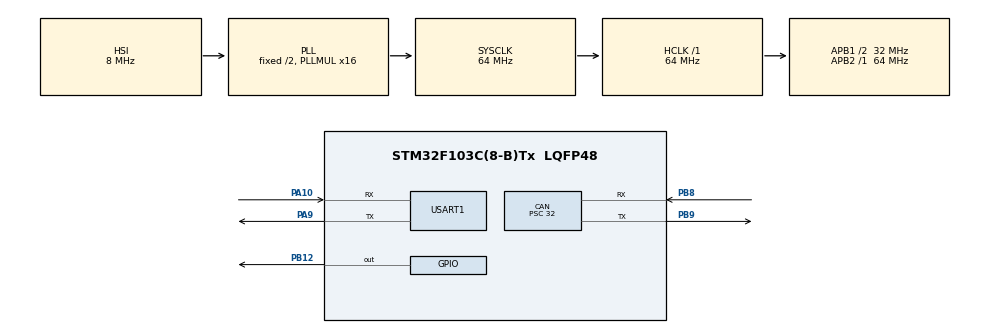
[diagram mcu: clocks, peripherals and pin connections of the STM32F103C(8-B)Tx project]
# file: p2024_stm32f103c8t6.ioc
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CAN.BS1=CAN_BS1_14TQ
CAN.BS2=CAN_BS2_5TQ
CAN.CalculateBaudRate=50000
CAN.CalculateTimeBit=20000
CAN.CalculateTimeQuantum=1000.0
CAN.Mode=CAN_MODE_LOOPBACK
CAN.Prescaler=32
Mcu.Family=STM32F1
Mcu.Name=STM32F103C(8-B)Tx
Mcu.Package=LQFP48
NVIC.PriorityGroup=NVIC_PRIORITYGROUP_4
NVIC.USART1_IRQn=true\:0\:0\:false\:false\:true\:true\:true\:true
NVIC.USB_LP_CAN1_RX0_IRQn=true\:0\:0\:false\:false\:true\:true\:true\:true
PA10.Mode=Asynchronous
PA10.Signal=USART1_RX
PA13.Mode=Serial_Wire
PA13.Signal=SYS_JTMS-SWDIO
PA14.Mode=Serial_Wire
PA14.Signal=SYS_JTCK-SWCLK
PA9.Mode=Asynchronous
PA9.Signal=USART1_TX
PB12.Signal=GPIO_Output
PB8.Mode=CAN_Activate
PB8.Signal=CAN_RX
PB9.Mode=CAN_Activate
PB9.Signal=CAN_TX
ProjectManager.HeapSize=0x200
ProjectManager.StackSize=0x400
ProjectManager.TargetToolchain=STM32CubeIDE
RCC.AHBFreq_Value=64000000
RCC.APB1CLKDivider=RCC_HCLK_DIV2
RCC.APB1Freq_Value=32000000
RCC.APB1TimFreq_Value=64000000
RCC.APB2Freq_Value=64000000
RCC.APB2TimFreq_Value=64000000
RCC.HCLKFreq_Value=64000000
RCC.PLLMUL=RCC_PLL_MUL16
RCC.SYSCLKFreq_VALUE=64000000
RCC.SYSCLKSource=RCC_SYSCLKSOURCE_PLLCLK
RCC.USBFreq_Value=64000000
USART1.VirtualMode=VM_ASYNC
board=custom

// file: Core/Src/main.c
/* USER CODE BEGIN Header */
/**
  ******************************************************************************
  * @file           : main.c
  * @brief          : Main program body
  ******************************************************************************
  * @attention
  *
  * Copyright (c) 2024 STMicroelectronics.
  * All rights reserved.
  *
  * This software is licensed under terms that can be found in the LICENSE file
  * in the root directory of this software component.
  * If no LICENSE file comes with this software, it is provided AS-IS.
  *
  ******************************************************************************
  */
/* USER CODE END Header */
#include "main.h"
#include "can.h"
#include "usart.h"
#include "gpio.h"

/* USER CODE BEGIN Includes */
#include "stdint.h"
#include "stdio.h"
#include "lt_global_defs.h"
#include "lt_can2.h"
#include "lt_systick.h"

#if defined CAN_ENABLE
#include "lt_can2.h"
#endif//CAN_ENABLE
/* USER CODE END Includes */

void SystemClock_Config(void);

int main(void)
{

  /* USER CODE BEGIN 1 */
	uint32_t prev_systick=0;
  /* USER CODE END 1 */

  /* MCU Configuration--------------------------------------------------------*/

  /* Reset of all peripherals, Initializes the Flash interface and the Systick. */
  HAL_Init();

  /* Configure the system clock */
  SystemClock_Config();

  /* Initialize all configured peripherals */
  MX_GPIO_Init();
  MX_USART1_UART_Init();
  MX_CAN_Init();
  /* USER CODE BEGIN 2 */
  // printf
  setvbuf(stdout, NULL, _IONBF, 0);
  printf("\r\nprintf use IONBF ..");

#if defined CAN_ENABLE
  // CAN Start
  // config for Can Tx
  can_tx_packet_header_config();
  // can filter init for can rx
  can_rx_packet_filter_config();
  HAL_CAN_ConfigFilter(&hcanHandle, &CanRxFilterConfig);
  printf("\r\nhal_can_filter config ..");

  if (HAL_CAN_Start(&hcanHandle) != HAL_OK)
  {
    /* Start Error */
  	printf("\r\nhal_can_start error !!");
    //Error_Handler();
  }
  printf("\r\nhal_can_started..");

  /* Activate CAN RX notification */
  if (HAL_CAN_ActivateNotification(&hcanHandle, CAN_IT_RX_FIFO0_MSG_PENDING) != HAL_OK)
  {
    /* Notification Error */
   //  Error_Handler();
  }

  //
  can_operation_mode_display();
#endif//CAN_ENABLE

  //
  printf("\r\nreset...");
  /* USER CODE END 2 */

  /* Infinite loop */
  /* USER CODE BEGIN WHILE */
  while (1)
  {
  	// 1. systick
  	static int print_cnt = 0;
  	if (get_systick() >= (prev_systick+500))
  	{
  		printf("\r\nHello : 2024-09.21-1 : %d", ++print_cnt);
  		prev_systick = get_systick();
  	}
#if defined	CAN_ENABLE
  	// 2. CAN Tranceiver
#if defined	CAN_TRX_DEMO_MODE
  	can_txrx_process_demo();
#elif defined	CAN_TX_DEMO_MODE
  	can_tx_process_demo();
#elif defined CAN_RX_DEMO_MODE
  	can_rx_process_demo();
#endif
#endif
    /* USER CODE END WHILE */

  }
}

void SystemClock_Config(void)
{
  RCC_OscInitTypeDef RCC_OscInitStruct = {0};
  RCC_ClkInitTypeDef RCC_ClkInitStruct = {0};

  /** Initializes the RCC Oscillators according to the specified parameters
  * in the RCC_OscInitTypeDef structure.
  */
  RCC_OscInitStruct.OscillatorType = RCC_OSCILLATORTYPE_HSI;
  RCC_OscInitStruct.HSIState = RCC_HSI_ON;
  RCC_OscInitStruct.HSICalibrationValue = RCC_HSICALIBRATION_DEFAULT;
  RCC_OscInitStruct.PLL.PLLState = RCC_PLL_ON;
  RCC_OscInitStruct.PLL.PLLSource = RCC_PLLSOURCE_HSI_DIV2;
  RCC_OscInitStruct.PLL.PLLMUL = RCC_PLL_MUL16;
  if (HAL_RCC_OscConfig(&RCC_OscInitStruct) != HAL_OK)
  {
    Error_Handler();
  }

  /** Initializes the CPU, AHB and APB buses clocks
  */
  RCC_ClkInitStruct.ClockType = RCC_CLOCKTYPE_HCLK|RCC_CLOCKTYPE_SYSCLK
                              |RCC_CLOCKTYPE_PCLK1|RCC_CLOCKTYPE_PCLK2;
  RCC_ClkInitStruct.SYSCLKSource = RCC_SYSCLKSOURCE_PLLCLK;
  RCC_ClkInitStruct.AHBCLKDivider = RCC_SYSCLK_DIV1;
  RCC_ClkInitStruct.APB1CLKDivider = RCC_HCLK_DIV2;
  RCC_ClkInitStruct.APB2CLKDivider = RCC_HCLK_DIV1;

  if (HAL_RCC_ClockConfig(&RCC_ClkInitStruct, FLASH_LATENCY_2) != HAL_OK)
  {
    Error_Handler();
  }
}

void Error_Handler(void)
{
  __disable_irq();
  while (1)
  {
  }
}
